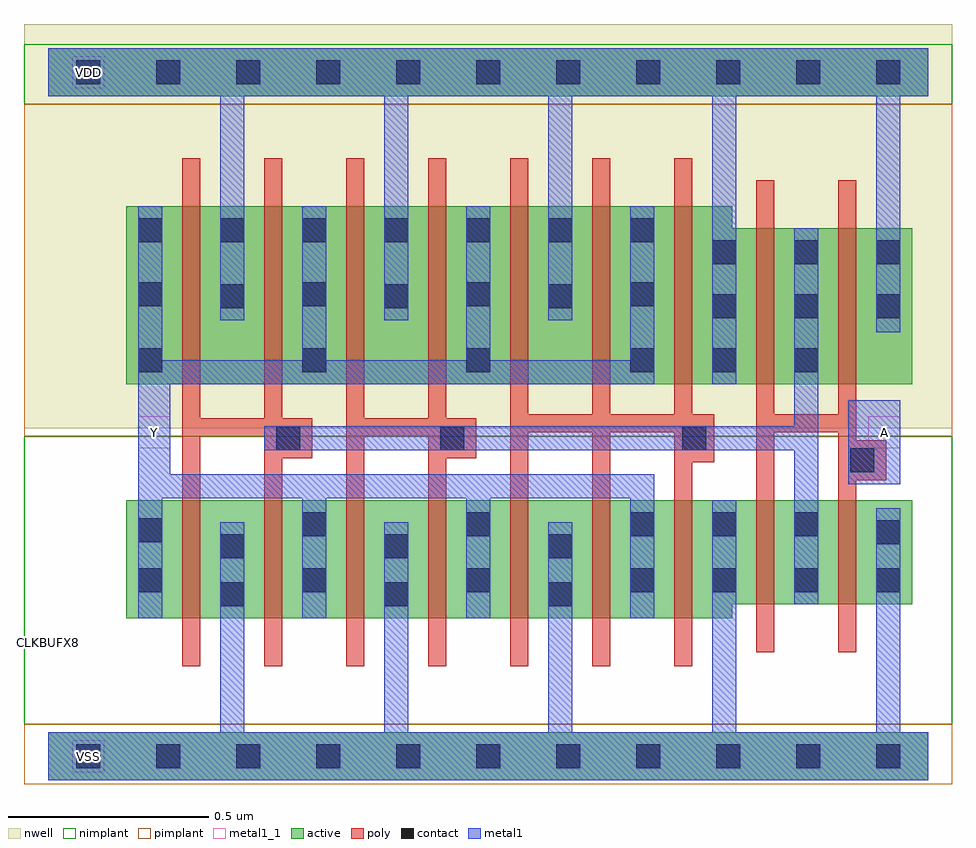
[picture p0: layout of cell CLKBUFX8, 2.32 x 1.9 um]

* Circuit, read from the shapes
.subckt CLKBUFX8 A VDD VSS Y
M1 VSS n1 Y VSS nfet w=0.295u l=0.045u m=7
M2 n1 A VSS VSS nfet w=0.26u l=0.045u m=2
M3 VDD n1 Y VDD pfet w=0.445u l=0.045u m=7
M4 n1 A VDD VDD pfet w=0.39u l=0.045u m=2
.ends

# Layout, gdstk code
import gdstk
lib = gdstk.Library(unit=1e-6, precision=5e-10)
def R(c, l, rs):  # rectangles x0, y0, x1, y1
    for r in rs: c.add(gdstk.rectangle(r[:2], r[2:], *l))
def A(c, l, x, y, w, h, nx, ny, dx, dy):  # array of equal rectangles
    R(c, l, [(x+i*dx, y+j*dy, x+i*dx+w, y+j*dy+h) for i in range(nx) for j in range(ny)])
def P(c, l, *ps):  # polygons
    for p in ps: c.add(gdstk.Polygon(p, *l))
active = (1, 0)
nwell = (2, 0)
poly = (3, 0)
nimplant = (4, 0)
pimplant = (5, 0)
contact = (6, 0)
metal1 = (7, 0)
metal1_1 = (7, 1)

clkbufx8 = lib.new_cell('CLKBUFX8')
R(clkbufx8, active, [(0,-0.06,2.2,0.06), (0,1.65,2.2,1.77)])
P(clkbufx8, active, [(0.195,1.375),(1.71,1.375),(1.71,1.32),(2.16,1.32),(2.16,0.93),(0.195,0.93)],
  [(0.195,0.64),(2.16,0.64),(2.16,0.38),(1.71,0.38),(1.71,0.345),(0.195,0.345)])
R(clkbufx8, nwell, [(-0.06,0.82,2.26,1.83)])
P(clkbufx8, poly, [(0.335,1.495),(0.38,1.495),(0.38,0.845),(0.54,0.845),(0.54,1.495),(0.585,1.495),(0.585,0.845),(0.66,0.845),(0.66,0.745),(0.585,0.745),(0.585,0.225),(0.54,0.225),(0.54,0.8),(0.38,0.8),(0.38,0.225),(0.335,0.225)],
  [(0.745,1.495),(0.79,1.495),(0.79,0.845),(0.95,0.845),(0.95,1.495),(0.995,1.495),(0.995,0.845),(1.07,0.845),(1.07,0.745),(0.995,0.745),(0.995,0.225),(0.95,0.225),(0.95,0.8),(0.79,0.8),(0.79,0.225),(0.745,0.225)],
  [(1.155,1.495),(1.2,1.495),(1.2,0.855),(1.36,0.855),(1.36,1.495),(1.405,1.495),(1.405,0.855),(1.565,0.855),(1.565,1.495),(1.61,1.495),(1.61,0.855),(1.665,0.855),(1.665,0.735),(1.61,0.735),(1.61,0.225),(1.565,0.225),(1.565,0.81),(1.405,0.81),(1.405,0.225),(1.36,0.225),(1.36,0.81),(1.2,0.81),(1.2,0.225),(1.155,0.225)],
  [(1.77,1.44),(1.815,1.44),(1.815,0.855),(1.975,0.855),(1.975,1.44),(2.02,1.44),(2.02,0.79),(2.095,0.79),(2.095,0.69),(2.02,0.69),(2.02,0.26),(1.975,0.26),(1.975,0.81),(1.815,0.81),(1.815,0.26),(1.77,0.26)])
R(clkbufx8, nimplant, [(-0.06,0.08,2.26,0.8), (-0.06,1.63,2.26,1.78)])
R(clkbufx8, pimplant, [(-0.06,-0.07,2.26,0.08), (-0.06,0.8,2.26,1.63)])
A(clkbufx8, contact, 0.07, -0.03, 0.06, 0.06, 11, 2, 0.2, 1.71)
A(clkbufx8, contact, 0.43, 0.375, 0.06, 0.06, 3, 2, 0.41, 0.12)
A(clkbufx8, contact, 0.225, 0.41, 0.06, 0.06, 4, 2, 0.41, 0.55)
A(clkbufx8, contact, 1.66, 0.41, 0.06, 0.06, 3, 2, 0.205, 0.685)
A(clkbufx8, contact, 0.635, 0.55, 0.06, 0.06, 3, 1, 0.41, 0)
A(clkbufx8, contact, 0.43, 1.12, 0.06, 0.06, 3, 1, 0.41, 0)
A(clkbufx8, contact, 0.225, 1.125, 0.06, 0.06, 4, 1, 0.41, 0)
A(clkbufx8, contact, 1.66, 1.23, 0.06, 0.06, 3, 1, 0.205, 0)
A(clkbufx8, contact, 0.225, 1.285, 0.06, 0.06, 7, 1, 0.205, 0)
R(clkbufx8, contact, [(2.07,0.53,2.13,0.59), (0.225,0.535,0.285,0.595), (1.66,0.55,1.72,0.61), (1.865,0.55,1.925,0.61), (2.005,0.71,2.065,0.77), (0.57,0.765,0.63,0.825), (0.98,0.765,1.04,0.825), (1.585,0.765,1.645,0.825), (1.66,0.96,1.72,1.02), (1.865,0.96,1.925,1.02)])
R(clkbufx8, metal1, [(2,0.68,2.13,0.89)])
P(clkbufx8, metal1, [(1.865,1.32),(1.925,1.32),(1.925,0.38),(1.865,0.38),(1.865,0.765),(0.54,0.765),(0.54,0.825),(1.865,0.825)],
  [(0.43,0.585),(0.49,0.585),(0.49,0.06),(0.84,0.06),(0.84,0.585),(0.9,0.585),(0.9,0.06),(1.25,0.06),(1.25,0.585),(1.31,0.585),(1.31,0.06),(1.66,0.06),(1.66,0.64),(1.72,0.64),(1.72,0.06),(2.07,0.06),(2.07,0.62),(2.13,0.62),(2.13,0.06),(2.2,0.06),(2.2,-0.06),(0,-0.06),(0,0.06),(0.43,0.06)],
  [(0,1.77),(2.2,1.77),(2.2,1.65),(2.13,1.65),(2.13,1.06),(2.07,1.06),(2.07,1.65),(1.72,1.65),(1.72,0.93),(1.66,0.93),(1.66,1.65),(1.31,1.65),(1.31,1.09),(1.25,1.09),(1.25,1.65),(0.9,1.65),(0.9,1.09),(0.84,1.09),(0.84,1.65),(0.49,1.65),(0.49,1.09),(0.43,1.09),(0.43,1.65),(0,1.65)],
  [(0.225,1.375),(0.285,1.375),(0.285,0.99),(0.635,0.99),(0.635,1.375),(0.695,1.375),(0.695,0.99),(1.045,0.99),(1.045,1.375),(1.105,1.375),(1.105,0.99),(1.455,0.99),(1.455,1.375),(1.515,1.375),(1.515,0.93),(0.305,0.93),(0.305,0.705),(1.515,0.705),(1.515,0.345),(1.455,0.345),(1.455,0.645),(1.105,0.645),(1.105,0.345),(1.045,0.345),(1.045,0.645),(0.695,0.645),(0.695,0.345),(0.635,0.345),(0.635,0.645),(0.285,0.645),(0.285,0.345),(0.225,0.345)])
R(clkbufx8, metal1_1, [(0.06,-0.04,0.14,0.04), (0.225,0.77,0.305,0.85), (2.05,0.77,2.13,0.85), (0.06,1.67,0.14,1.75)])
clkbufx8.add(gdstk.Label('Y', (0.265,0.81), layer=7, texttype=1))
clkbufx8.add(gdstk.Label('A', (2.09,0.81), layer=7, texttype=1))
clkbufx8.add(gdstk.Label('VDD', (0.1,1.71), layer=7, texttype=1))
clkbufx8.add(gdstk.Label('VSS', (0.1,0), layer=7, texttype=1))
clkbufx8.add(gdstk.Label('CLKBUFX8', (0,0.285), layer=63, texttype=0))

lib.write_gds('CLKBUFX8.gds')
